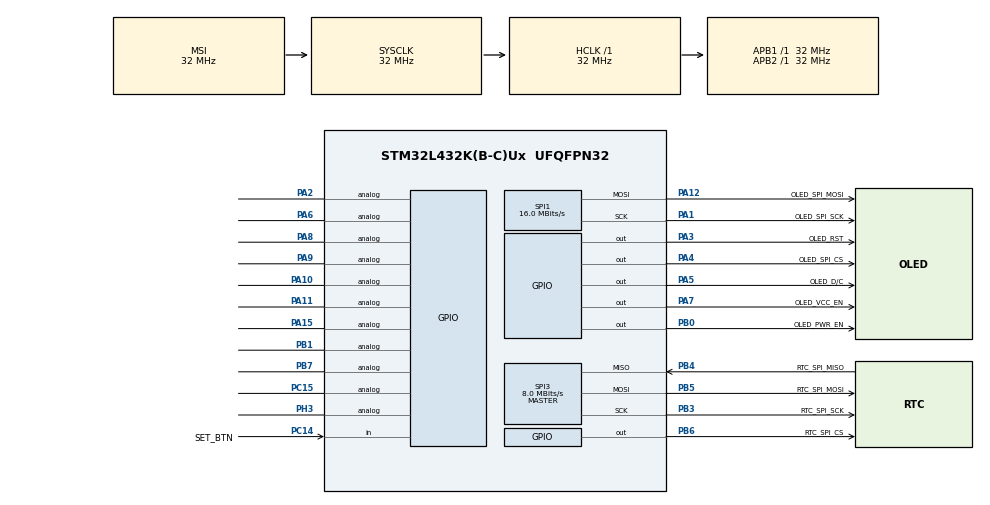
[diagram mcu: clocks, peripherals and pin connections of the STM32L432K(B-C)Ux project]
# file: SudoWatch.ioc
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Mcu.Family=STM32L4
Mcu.Name=STM32L432K(B-C)Ux
Mcu.Package=UFQFPN32
NVIC.PriorityGroup=NVIC_PRIORITYGROUP_4
NVIC.SPI1_IRQn=true\:0\:0\:false\:false\:true\:true\:true\:true
NVIC.TIM2_IRQn=true\:0\:0\:false\:false\:true\:true\:true\:true
PA0.GPIO_Label=WAKE_BTN
PA0.Mode=SYS_WakeUp0
PA0.Signal=SYS_WKUP1
PA1.GPIO_Label=OLED_SPI_SCK
PA1.Mode=TX_Only_Simplex_Unidirect_Master
PA1.Signal=SPI1_SCK
PA10.Signal=GPIO_Analog
PA11.Signal=GPIO_Analog
PA12.GPIO_Label=OLED_SPI_MOSI
PA12.Mode=TX_Only_Simplex_Unidirect_Master
PA12.Signal=SPI1_MOSI
PA13\ (JTMS-SWDIO).Mode=Serial_Wire
PA13\ (JTMS-SWDIO).Signal=SYS_JTMS-SWDIO
PA14\ (JTCK-SWCLK).Mode=Serial_Wire
PA14\ (JTCK-SWCLK).Signal=SYS_JTCK-SWCLK
PA15\ (JTDI).Signal=GPIO_Analog
PA2.Signal=GPIO_Analog
PA3.GPIO_Label=OLED_RST
PA3.Signal=GPIO_Output
PA4.GPIO_Label=OLED_SPI_CS
PA4.Signal=GPIO_Output
PA5.GPIO_Label=OLED_D/C
PA5.Signal=GPIO_Output
PA6.Signal=GPIO_Analog
PA7.GPIO_Label=OLED_VCC_EN
PA7.Signal=GPIO_Output
PA8.Signal=GPIO_Analog
PA9.Signal=GPIO_Analog
PB0.GPIO_Label=OLED_PWR_EN
PB0.Signal=GPIO_Output
PB1.Signal=GPIO_Analog
PB3\ (JTDO-TRACESWO).GPIO_Label=RTC_SPI_SCK
PB3\ (JTDO-TRACESWO).Mode=Full_Duplex_Master
PB3\ (JTDO-TRACESWO).Signal=SPI3_SCK
PB4\ (NJTRST).GPIO_Label=RTC_SPI_MISO
PB4\ (NJTRST).Mode=Full_Duplex_Master
PB4\ (NJTRST).Signal=SPI3_MISO
PB5.GPIO_Label=RTC_SPI_MOSI
PB5.Mode=Full_Duplex_Master
PB5.Signal=SPI3_MOSI
PB6.GPIO_Label=RTC_SPI_CS
PB6.GPIO_PuPd=GPIO_NOPULL
PB6.GPIO_Speed=GPIO_SPEED_FREQ_LOW
PB6.Signal=GPIO_Output
PB7.Signal=GPIO_Analog
PC14-OSC32_IN\ (PC14).GPIO_Label=SET_BTN
PC14-OSC32_IN\ (PC14).Signal=GPIO_Input
PC15-OSC32_OUT\ (PC15).Signal=GPIO_Analog
PH3-BOOT0.Signal=GPIO_Analog
ProjectManager.HeapSize=0x200
ProjectManager.StackSize=0x400
ProjectManager.TargetToolchain=STM32CubeIDE
RCC.ADCFreq_Value=128000000
RCC.AHBFreq_Value=32000000
RCC.APB1Freq_Value=32000000
RCC.APB1TimFreq_Value=32000000
RCC.APB2Freq_Value=32000000
RCC.APB2TimFreq_Value=32000000
RCC.CortexFreq_Value=32000000
RCC.HCLKFreq_Value=32000000
RCC.HSE_VALUE=8000000
RCC.HSI48_VALUE=48000000
RCC.HSI_VALUE=16000000
RCC.LSE_VALUE=32768
RCC.MSIClockRange=RCC_MSIRANGE_10
RCC.MSI_VALUE=32000000
RCC.SYSCLKFreq_VALUE=32000000
RCC.USBFreq_Value=128000000
RCC.VCOOutputFreq_Value=256000000
SPI1.BaudRatePrescaler=SPI_BAUDRATEPRESCALER_2
SPI1.CalculateBaudRate=16.0 MBits/s
SPI1.DataSize=SPI_DATASIZE_8BIT
SPI1.Direction=SPI_DIRECTION_2LINES
SPI1.Mode=SPI_MODE_MASTER
SPI1.VirtualType=VM_MASTER
SPI3.BaudRatePrescaler=SPI_BAUDRATEPRESCALER_4
SPI3.CalculateBaudRate=8.0 MBits/s
SPI3.DataSize=SPI_DATASIZE_8BIT
SPI3.Direction=SPI_DIRECTION_2LINES
SPI3.Mode=SPI_MODE_MASTER
SPI3.VirtualType=VM_MASTER
TIM2.AutoReloadPreload=TIM_AUTORELOAD_PRELOAD_ENABLE
TIM2.CounterMode=TIM_COUNTERMODE_DOWN
TIM2.Period=31999
TIM2.Prescaler=1000
VP_SYS_VS_DBSignals.Mode=DisableDeadBatterySignals
VP_SYS_VS_LPOM.Mode=PowerOptimisation
VP_TIM2_VS_ClockSourceINT.Mode=Internal
board=custom

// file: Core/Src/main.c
/* USER CODE BEGIN Header */
/**
  ******************************************************************************
  * @file           : main.c
  * @brief          : Main program body
  ******************************************************************************
  * @attention
  *
  * Copyright (c) 2025 STMicroelectronics.
  * All rights reserved.
  *
  * This software is licensed under terms that can be found in the LICENSE file
  * in the root directory of this software component.
  * If no LICENSE file comes with this software, it is provided AS-IS.
  *
  ******************************************************************************
  */
/* USER CODE END Header */
#include "main.h"

/* USER CODE BEGIN Includes */
#include <stdio.h>
#include <string.h>

#include "rv2123.h"
#include "ssd1331.h"
#include "font.h"
/* USER CODE END Includes */

/* USER CODE BEGIN PTD */
enum field {hour, minute, dow, date, month};
/* USER CODE END PTD */

SPI_HandleTypeDef hspi1;
SPI_HandleTypeDef hspi3;

TIM_HandleTypeDef htim2;

/* USER CODE BEGIN PV */
char* monthNames[13] = {"", "Jan", "Feb", "Mar", "Apr", "May", "Jun", "Jul", "Aug", "Sep", "Oct", "Nov", "Dec"}; // Empty first index to align with RTC month values
char* dowNames[7] = {"Mon", "Tue", "Wed", "Thu", "Fri", "Sat", "Sun"};
/* USER CODE END PV */

void SystemClock_Config(void);
static void MX_GPIO_Init(void);
static void MX_SPI1_Init(void);
static void MX_SPI3_Init(void);
static void MX_TIM2_Init(void);

/* USER CODE BEGIN 0 */
TimeStruct globalTime =
{
		0,
		0,
		0,
		0,
		0,
		0
};

uint8_t secondsElapsed = 0;

void HAL_TIM_PeriodElapsedCallback(TIM_HandleTypeDef* htim)
{
	if (secondsElapsed < 5)
		secondsElapsed++;
}

void Toggle_PA0_Function(bool wakeup)
{
	if (wakeup)
	{
		__HAL_PWR_CLEAR_FLAG(PWR_FLAG_WUF1);
		__HAL_PWR_CLEAR_FLAG(PWR_FLAG_WU);
		HAL_PWR_EnableWakeUpPin(PWR_WAKEUP_PIN1_HIGH);
		GPIO_InitTypeDef GPIO_InitStruct = {0};
		GPIO_InitStruct.Pin = GPIO_PIN_0;
		GPIO_InitStruct.Mode = GPIO_MODE_INPUT;
		GPIO_InitStruct.Pull = GPIO_NOPULL;
		HAL_GPIO_Init(GPIOA, &GPIO_InitStruct);
	}
	else
	{
		HAL_PWR_DisableWakeUpPin(PWR_WAKEUP_PIN1_HIGH);
		GPIO_InitTypeDef GPIO_InitStruct = {0};
		GPIO_InitStruct.Pin = GPIO_PIN_0;
		GPIO_InitStruct.Mode = GPIO_MODE_INPUT;
		GPIO_InitStruct.Pull = GPIO_NOPULL;
		HAL_GPIO_Init(GPIOA, &GPIO_InitStruct);
	}
}

void Enter_Shutdown()
{
	// OLED shutdown
	OLED_SendCommand(SSD1331_0xAE_Display_Off_Sleep);
	SSD1331_ClearVCC();
	HAL_Delay(100);
	SSD1331_LoadSwitchDisable();

	// Enable WKUP1 Pin
	Toggle_PA0_Function(1);

	// Enter Shutdown Mode
	HAL_PWREx_EnterSHUTDOWNMode();
}

void Update_Time()
{
	RV2123_SetHour(globalTime.hour);
	RV2123_SetMinute(globalTime.minute);
	RV2123_SetDayOfWeek(globalTime.dow);
	RV2123_SetDate(globalTime.date);
	RV2123_SetMonth(globalTime.month);
}

void Increment_Value(uint8_t currentField)
{
	static char incr_val[10];

	switch(currentField)
	{
	case 0: // Hour
		if (globalTime.hour >= MIN_HOUR && globalTime.hour < MAX_HOUR)
		{
			globalTime.hour++;
		}
		else
		{
			globalTime.hour = MIN_HOUR;
		}

		sprintf(incr_val, "%02d", globalTime.hour);

		setCursorX(HOUR_UNDERLINE + 12);
		setCursorY(LINE2_Y);

		clearChar();
		clearChar();

		SSD1331_Print(incr_val, 255, 255, 255);
		SSD1331_Underline(HOUR_UNDERLINE, (LINE2_Y + 8), 2);
		break;
	case 1: // Minute
		if (globalTime.minute >= MIN_MINUTE && globalTime.minute < MAX_MINUTE)
		{
			globalTime.minute++;
		}
		else
		{
			globalTime.minute = MIN_MINUTE;
		}

		sprintf(incr_val, "%02d", globalTime.minute);

		setCursorX(MINUTE_UNDERLINE + 12);
		setCursorY(LINE2_Y);

		clearChar();
		clearChar();

		SSD1331_Print(incr_val, 255, 255, 255);
		SSD1331_Underline(MINUTE_UNDERLINE, (LINE2_Y + 8), 2);
		break;
	case 2: // Day of the Week
		if (globalTime.dow >= MIN_DOW && globalTime.dow < MAX_DOW)
		{
			globalTime.dow++;
		}
		else
		{
			globalTime.dow = MIN_DOW;
		}

		sprintf(incr_val, "%s", dowNames[globalTime.dow]);

		setCursorX(DOW_UNDERLINE + 18);
		setCursorY(LINE3_Y);

		clearChar();
		clearChar();
		clearChar();

		SSD1331_Print(incr_val, 255, 255, 255);
		SSD1331_Underline(DOW_UNDERLINE, (LINE3_Y + 8), 3);
		break;
	case 3: // Date
		if (globalTime.date >= MIN_DATE && globalTime.date < MAX_DATE)
		{
			globalTime.date++;
		}
		else
		{
			globalTime.date = MIN_DATE;
		}

		sprintf(incr_val, "%02d", globalTime.date);

		setCursorX(DATE_UNDERLINE + 12);
		setCursorY(LINE4_Y);

		clearChar();
		clearChar();

		SSD1331_Print(incr_val, 255, 255, 255);
		SSD1331_Underline(DATE_UNDERLINE, (LINE4_Y + 8), 2);
		break;
	case 4: // Month
		if (globalTime.month >= MIN_MONTH && globalTime.month < MAX_MONTH)
		{
			globalTime.month++;
		}
		else
		{
			globalTime.month = MIN_MONTH;
		}

		sprintf(incr_val, "%s", monthNames[globalTime.month]);

		setCursorX(MONTH_UNDERLINE + 18);
		setCursorY(LINE4_Y);

		clearChar();
		clearChar();
		clearChar();

		SSD1331_Print(incr_val, 255, 255, 255);
		SSD1331_Underline(MONTH_UNDERLINE, (LINE4_Y + 8), 3);
		break;
	}
}

enum field Cycle_Field(uint8_t currentValue, uint8_t currentField)
{
	enum field nextField = 0;
	// Update globalTime value and move underline
	switch(currentField)
	{
	case 0: // Hour
//		globalTime.hour = currentValue;
		SSD1331_ClearUnderline(HOUR_UNDERLINE, (LINE2_Y + 8), 2);
		SSD1331_Underline(MINUTE_UNDERLINE, (LINE2_Y + 8), 2);
		nextField = minute;
		break;
	case 1: // Minute
//		globalTime.minute = currentValue;
		SSD1331_ClearUnderline(MINUTE_UNDERLINE, (LINE2_Y + 8), 2);
		SSD1331_Underline(DOW_UNDERLINE, (LINE3_Y + 8), 3);
		nextField = dow;
		break;
	case 2: // Day of the Week
//		globalTime.dow = currentValue;
		SSD1331_ClearUnderline(DOW_UNDERLINE, (LINE3_Y + 8), 3);
		SSD1331_Underline(DATE_UNDERLINE, (LINE4_Y + 8), 2);
		nextField = date;
		break;
	case 3: // Date
//		globalTime.date = currentValue;
		SSD1331_ClearUnderline(DATE_UNDERLINE, (LINE4_Y + 8), 2);
		SSD1331_Underline(MONTH_UNDERLINE, (LINE4_Y + 8), 3);
		nextField = month;
		break;
	case 4: // Month
//		globalTime.month = currentValue;
		SSD1331_ClearUnderline(MONTH_UNDERLINE, (LINE4_Y + 8), 3);
		SSD1331_Underline(HOUR_UNDERLINE, (LINE2_Y + 8), 2);
		nextField = hour;
		break;
	}

	return nextField;
}

void Setting_Mode_Handler()
{
	HAL_TIM_Base_Start_IT(&htim2);

	// To prevent holding buttons and causing unwanted inputs
	bool wakeButtonReleased = 0;
	bool setButtonReleased = 0;

	// State machine
	uint8_t currentValue = globalTime.hour;
	enum field currentField = hour;
	SSD1331_Underline(HOUR_UNDERLINE, (LINE2_Y + 8), 2);

	while (secondsElapsed < 5)
	{
		if (HAL_GPIO_ReadPin(WAKE_BTN_GPIO_Port, WAKE_BTN_Pin) == GPIO_PIN_SET && wakeButtonReleased)
		{
			wakeButtonReleased = 0;
			currentField = Cycle_Field(currentValue, currentField);
			HAL_Delay(200);
			secondsElapsed = 0;
		}

		if (HAL_GPIO_ReadPin(SET_BTN_GPIO_Port, SET_BTN_Pin) == GPIO_PIN_SET && setButtonReleased)
		{
			setButtonReleased = 0;
			Increment_Value(currentField);
			HAL_Delay(200);
			secondsElapsed = 0;
		}

		if (HAL_GPIO_ReadPin(WAKE_BTN_GPIO_Port, WAKE_BTN_Pin) == GPIO_PIN_RESET)
		{
			wakeButtonReleased = 1;
		}

		if (HAL_GPIO_ReadPin(SET_BTN_GPIO_Port, SET_BTN_Pin) == GPIO_PIN_RESET)
		{
			setButtonReleased = 1;
		}
	}

	drawCancel();

	// Stop Timer
	HAL_TIM_Base_Stop_IT(&htim2);

	Update_Time();

	Enter_Shutdown();
}

uint8_t Startup_Validation(uint8_t value, uint8_t min, uint8_t max, uint8_t defaultVal)
{
	if (value >= min && value <= max)
	{
		return value;
	}
	else
	{
		return defaultVal;
	}
}

/* USER CODE END 0 */

int main(void)
{

  /* MCU Configuration--------------------------------------------------------*/

  /* Reset of all peripherals, Initializes the Flash interface and the Systick. */
  HAL_Init();

  /* Configure the system clock */
  SystemClock_Config();

  /* Initialize all configured peripherals */
  MX_GPIO_Init();
  MX_SPI1_Init();
  MX_SPI3_Init();
  MX_TIM2_Init();
  /* USER CODE BEGIN 2 */

//  HAL_UART_Transmit(&huart2, (uint8_t*)"STM32 waking up!\r\n\n", 20, 100);

  RV2123_Init();
  HAL_Delay(50);

  // Checking if RTC contains valid time
  globalTime.hour = Startup_Validation(RV2123_GetHour(), MIN_HOUR, MAX_HOUR, 0);
  globalTime.minute = Startup_Validation(RV2123_GetMinute(), MIN_MINUTE, MAX_MINUTE, 0);
  RV2123_SetSecond(Startup_Validation(RV2123_GetSecond(), MIN_SECOND, MAX_SECOND, 0));
  globalTime.dow = Startup_Validation(RV2123_GetDayOfWeek(), MIN_DOW, MAX_DOW, 0);
  globalTime.date = Startup_Validation(RV2123_GetDate(), MIN_DATE, MAX_DATE, 1);
  globalTime.month = Startup_Validation(RV2123_GetMonth(), MIN_MONTH, MAX_MONTH, 0);

  // OLED Initialization
  SSD1331_LoadSwitchEnable();
  SSD1331_ClearVCC();
  SSD1331_ClearRST();
  SSD1331_ClearDC();
  SSD1331_SetCS();

  SSD1331_Init();
  HAL_Delay(50);
  SSD1331_SetVCC();
  HAL_Delay(50);

  Toggle_PA0_Function(0);

  /* USER CODE END 2 */

  /* Infinite loop */
  while (1)
  {

    /* USER CODE BEGIN 3 */

	  //Regular Run Loop
	  drawPrompt(LINE1_Y);
	  drawStart();
	  drawTime(globalTime.hour, globalTime.minute);
	  drawDOW(dowNames[globalTime.dow]);
	  drawDate(globalTime.date, monthNames[globalTime.month]);
	  drawPrompt(LINE5_Y);

	  for (int8_t i = 0; i < 10; i++)
	  {
		  if (i % 2)
		  {
			  clearChar();
		  }
		  else
		  {
			  SSD1331_Putc('_', 255, 255, 255);
		  }

		  uint32_t elapsedDelay = 0;

		  while (elapsedDelay < 500)
		  {
			  if (HAL_GPIO_ReadPin(SET_BTN_GPIO_Port, SET_BTN_Pin) == GPIO_PIN_SET)
			  {
				  HAL_Delay(20);
				  if (!(i % 2))
				  {
					  clearChar();
				  }

				  drawSet();
				  // Handle Setting mode
				  Setting_Mode_Handler();
			  }

			  HAL_Delay(10);
			  elapsedDelay += 10;
		  }
//		  HAL_Delay(500);
	  }

	  drawEnd();
	  Enter_Shutdown();

//		  HAL_Delay(2000);
  }
  /* USER CODE END 3 */
}

void SystemClock_Config(void)
{
  RCC_OscInitTypeDef RCC_OscInitStruct = {0};
  RCC_ClkInitTypeDef RCC_ClkInitStruct = {0};

  /** Configure the main internal regulator output voltage
  */
  if (HAL_PWREx_ControlVoltageScaling(PWR_REGULATOR_VOLTAGE_SCALE1) != HAL_OK)
  {
    Error_Handler();
  }

  /** Initializes the RCC Oscillators according to the specified parameters
  * in the RCC_OscInitTypeDef structure.
  */
  RCC_OscInitStruct.OscillatorType = RCC_OSCILLATORTYPE_MSI;
  RCC_OscInitStruct.MSIState = RCC_MSI_ON;
  RCC_OscInitStruct.MSICalibrationValue = 0;
  RCC_OscInitStruct.MSIClockRange = RCC_MSIRANGE_10;
  RCC_OscInitStruct.PLL.PLLState = RCC_PLL_NONE;
  if (HAL_RCC_OscConfig(&RCC_OscInitStruct) != HAL_OK)
  {
    Error_Handler();
  }

  /** Initializes the CPU, AHB and APB buses clocks
  */
  RCC_ClkInitStruct.ClockType = RCC_CLOCKTYPE_HCLK|RCC_CLOCKTYPE_SYSCLK
                              |RCC_CLOCKTYPE_PCLK1|RCC_CLOCKTYPE_PCLK2;
  RCC_ClkInitStruct.SYSCLKSource = RCC_SYSCLKSOURCE_MSI;
  RCC_ClkInitStruct.AHBCLKDivider = RCC_SYSCLK_DIV1;
  RCC_ClkInitStruct.APB1CLKDivider = RCC_HCLK_DIV1;
  RCC_ClkInitStruct.APB2CLKDivider = RCC_HCLK_DIV1;

  if (HAL_RCC_ClockConfig(&RCC_ClkInitStruct, FLASH_LATENCY_1) != HAL_OK)
  {
    Error_Handler();
  }
}

static void MX_SPI1_Init(void)
{

  /* SPI1 parameter configuration*/
  hspi1.Instance = SPI1;
  hspi1.Init.Mode = SPI_MODE_MASTER;
  hspi1.Init.Direction = SPI_DIRECTION_2LINES;
  hspi1.Init.DataSize = SPI_DATASIZE_8BIT;
  hspi1.Init.CLKPolarity = SPI_POLARITY_LOW;
  hspi1.Init.CLKPhase = SPI_PHASE_1EDGE;
  hspi1.Init.NSS = SPI_NSS_SOFT;
  hspi1.Init.BaudRatePrescaler = SPI_BAUDRATEPRESCALER_2;
  hspi1.Init.FirstBit = SPI_FIRSTBIT_MSB;
  hspi1.Init.TIMode = SPI_TIMODE_DISABLE;
  hspi1.Init.CRCCalculation = SPI_CRCCALCULATION_DISABLE;
  hspi1.Init.CRCPolynomial = 7;
  hspi1.Init.CRCLength = SPI_CRC_LENGTH_DATASIZE;
  hspi1.Init.NSSPMode = SPI_NSS_PULSE_ENABLE;
  if (HAL_SPI_Init(&hspi1) != HAL_OK)
  {
    Error_Handler();
  }

}

static void MX_SPI3_Init(void)
{

  /* SPI3 parameter configuration*/
  hspi3.Instance = SPI3;
  hspi3.Init.Mode = SPI_MODE_MASTER;
  hspi3.Init.Direction = SPI_DIRECTION_2LINES;
  hspi3.Init.DataSize = SPI_DATASIZE_8BIT;
  hspi3.Init.CLKPolarity = SPI_POLARITY_LOW;
  hspi3.Init.CLKPhase = SPI_PHASE_1EDGE;
  hspi3.Init.NSS = SPI_NSS_SOFT;
  hspi3.Init.BaudRatePrescaler = SPI_BAUDRATEPRESCALER_4;
  hspi3.Init.FirstBit = SPI_FIRSTBIT_MSB;
  hspi3.Init.TIMode = SPI_TIMODE_DISABLE;
  hspi3.Init.CRCCalculation = SPI_CRCCALCULATION_DISABLE;
  hspi3.Init.CRCPolynomial = 7;
  hspi3.Init.CRCLength = SPI_CRC_LENGTH_DATASIZE;
  hspi3.Init.NSSPMode = SPI_NSS_PULSE_ENABLE;
  if (HAL_SPI_Init(&hspi3) != HAL_OK)
  {
    Error_Handler();
  }

}

static void MX_TIM2_Init(void)
{

  TIM_ClockConfigTypeDef sClockSourceConfig = {0};
  TIM_MasterConfigTypeDef sMasterConfig = {0};

  htim2.Instance = TIM2;
  htim2.Init.Prescaler = 1000;
  htim2.Init.CounterMode = TIM_COUNTERMODE_DOWN;
  htim2.Init.Period = 31999;
  htim2.Init.ClockDivision = TIM_CLOCKDIVISION_DIV1;
  htim2.Init.AutoReloadPreload = TIM_AUTORELOAD_PRELOAD_ENABLE;
  if (HAL_TIM_Base_Init(&htim2) != HAL_OK)
  {
    Error_Handler();
  }
  sClockSourceConfig.ClockSource = TIM_CLOCKSOURCE_INTERNAL;
  if (HAL_TIM_ConfigClockSource(&htim2, &sClockSourceConfig) != HAL_OK)
  {
    Error_Handler();
  }
  sMasterConfig.MasterOutputTrigger = TIM_TRGO_RESET;
  sMasterConfig.MasterSlaveMode = TIM_MASTERSLAVEMODE_DISABLE;
  if (HAL_TIMEx_MasterConfigSynchronization(&htim2, &sMasterConfig) != HAL_OK)
  {
    Error_Handler();
  }

}

static void MX_GPIO_Init(void)
{
  GPIO_InitTypeDef GPIO_InitStruct = {0};

  /* GPIO Ports Clock Enable */
  __HAL_RCC_GPIOC_CLK_ENABLE();
  __HAL_RCC_GPIOA_CLK_ENABLE();
  __HAL_RCC_GPIOB_CLK_ENABLE();
  __HAL_RCC_GPIOH_CLK_ENABLE();

  /*Configure GPIO pin Output Level */
  HAL_GPIO_WritePin(GPIOA, OLED_RST_Pin|OLED_SPI_CS_Pin|OLED_D_C_Pin|OLED_VCC_EN_Pin, GPIO_PIN_RESET);

  /*Configure GPIO pin Output Level */
  HAL_GPIO_WritePin(GPIOB, OLED_PWR_EN_Pin|RTC_SPI_CS_Pin, GPIO_PIN_RESET);

  /*Configure GPIO pin : SET_BTN_Pin */
  GPIO_InitStruct.Pin = SET_BTN_Pin;
  GPIO_InitStruct.Mode = GPIO_MODE_INPUT;
  GPIO_InitStruct.Pull = GPIO_NOPULL;
  HAL_GPIO_Init(SET_BTN_GPIO_Port, &GPIO_InitStruct);

  /*Configure GPIO pin : PC15 */
  GPIO_InitStruct.Pin = GPIO_PIN_15;
  GPIO_InitStruct.Mode = GPIO_MODE_ANALOG;
  GPIO_InitStruct.Pull = GPIO_NOPULL;
  HAL_GPIO_Init(GPIOC, &GPIO_InitStruct);

  /*Configure GPIO pins : PA2 PA6 PA8 PA9
                           PA10 PA11 PA15 */
  GPIO_InitStruct.Pin = GPIO_PIN_2|GPIO_PIN_6|GPIO_PIN_8|GPIO_PIN_9
                          |GPIO_PIN_10|GPIO_PIN_11|GPIO_PIN_15;
  GPIO_InitStruct.Mode = GPIO_MODE_ANALOG;
  GPIO_InitStruct.Pull = GPIO_NOPULL;
  HAL_GPIO_Init(GPIOA, &GPIO_InitStruct);

  /*Configure GPIO pins : OLED_RST_Pin OLED_SPI_CS_Pin OLED_D_C_Pin OLED_VCC_EN_Pin */
  GPIO_InitStruct.Pin = OLED_RST_Pin|OLED_SPI_CS_Pin|OLED_D_C_Pin|OLED_VCC_EN_Pin;
  GPIO_InitStruct.Mode = GPIO_MODE_OUTPUT_PP;
  GPIO_InitStruct.Pull = GPIO_NOPULL;
  GPIO_InitStruct.Speed = GPIO_SPEED_FREQ_LOW;
  HAL_GPIO_Init(GPIOA, &GPIO_InitStruct);

  /*Configure GPIO pins : OLED_PWR_EN_Pin RTC_SPI_CS_Pin */
  GPIO_InitStruct.Pin = OLED_PWR_EN_Pin|RTC_SPI_CS_Pin;
  GPIO_InitStruct.Mode = GPIO_MODE_OUTPUT_PP;
  GPIO_InitStruct.Pull = GPIO_NOPULL;
  GPIO_InitStruct.Speed = GPIO_SPEED_FREQ_LOW;
  HAL_GPIO_Init(GPIOB, &GPIO_InitStruct);

  /*Configure GPIO pins : PB1 PB7 */
  GPIO_InitStruct.Pin = GPIO_PIN_1|GPIO_PIN_7;
  GPIO_InitStruct.Mode = GPIO_MODE_ANALOG;
  GPIO_InitStruct.Pull = GPIO_NOPULL;
  HAL_GPIO_Init(GPIOB, &GPIO_InitStruct);

  /*Configure GPIO pin : PH3 */
  GPIO_InitStruct.Pin = GPIO_PIN_3;
  GPIO_InitStruct.Mode = GPIO_MODE_ANALOG;
  GPIO_InitStruct.Pull = GPIO_NOPULL;
  HAL_GPIO_Init(GPIOH, &GPIO_InitStruct);

}

void Error_Handler(void)
{
  __disable_irq();
  while (1)
  {
  }
}
